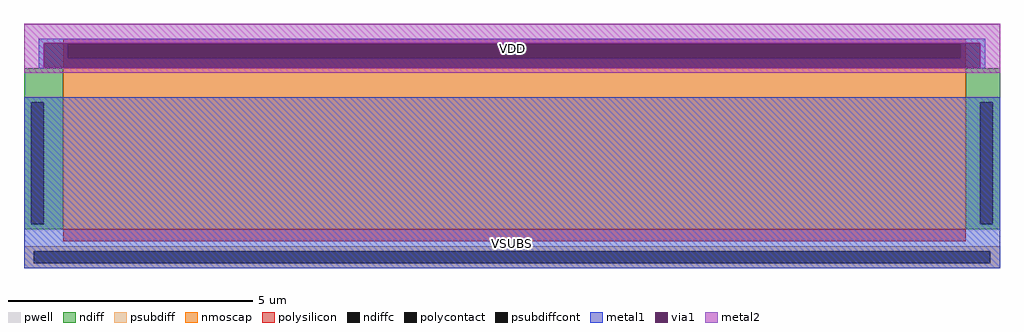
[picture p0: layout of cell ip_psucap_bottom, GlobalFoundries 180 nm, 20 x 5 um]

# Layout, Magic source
magic
tech gf180mcuD
magscale 1 10
<< metal1 >>
rect 0 0 4000 700
<< via1 >>
rect 80 820 3920 920
<< metal2 >>
rect 0 920 4000 1000
rect 0 820 80 920
rect 3920 820 4000 920
rect 0 800 4000 820
use nmoscap_3p3_CUSTM5  nmoscap_3p3_CUSTM5_0
transform 1 0 400 0 1 799
box -400 -800 3600 200
<< labels >>
flabel metal2 0 800 4000 1000 0 FreeSans 800 0 0 0 VDD
port 0 nsew
flabel metal1 0 0 4000 200 0 FreeSans 800 0 0 0 VSUBS
port 1 nsew
<< end >>

# cell nmoscap_3p3_CUSTM5: kit device nmoscap_3p3, w 3.3 l 18.5 m 1 nf 1 diffcov 100 polycov 100 guard 0 glc 0 grc 0 gtc 0 gbc 0 tbcov 100 rlcov 100 topc 1 botc 0 poverlap 0 doverlap 1 lmin 0.28 wmin 0.22 class mosfet full_metal 0 compatible {nmoscap_3p3 nmoscap_6p0}
